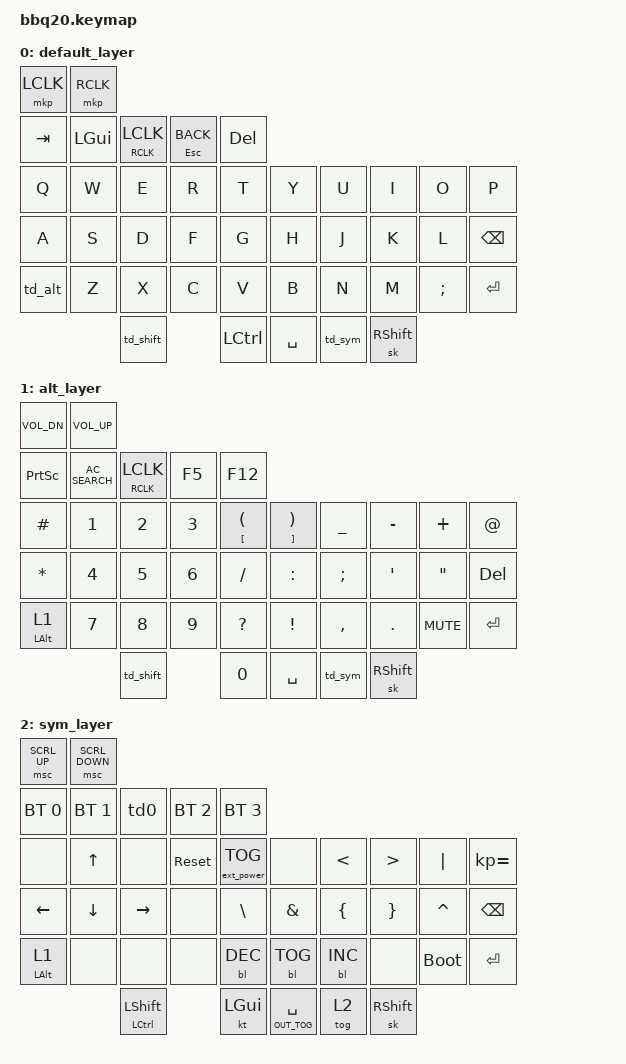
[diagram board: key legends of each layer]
/*
 * Copyright (c) 2023 ZitaoTech
 *
 * SPDX-License-Identifier: MIT
 */

#include <behaviors.dtsi>
#include <dt-bindings/zmk/backlight.h>
#include <dt-bindings/zmk/bt.h>
#include <dt-bindings/zmk/ext_power.h>
#include <dt-bindings/zmk/keys.h>
#include <dt-bindings/zmk/keys.h>
#include <dt-bindings/zmk/mouse.h>
#include <dt-bindings/zmk/outputs.h>

#define SYM 1
#define UPPER 2

/ {
    behaviors {
        td0: tap_dance_0 {
            compatible = "zmk,behavior-tap-dance";
            #binding-cells = <0>;
            tapping-term-ms = <400>;
            bindings = <&mkp LCLK>, <&bt BT_CLR>;
        };
    };

    behaviors {
        hm: homerow_mods {
            compatible = "zmk,behavior-hold-tap";
            #binding-cells = <2>;
            tapping-term-ms = <500>;
            bindings = <&out &kp>;
        };

        td_alt: td_alt {
            compatible = "zmk,behavior-tap-dance";
            label = "TD_ALT";
            #binding-cells = <0>;
            bindings = <&sl 1>, <&tog 1>;
        };

        td_sym: td_sym {
            compatible = "zmk,behavior-tap-dance";
            label = "TD_SYM";
            #binding-cells = <0>;
            bindings = <&sl 2>, <&tog 2>;
        };

        td_shift: td_shift {
            compatible = "zmk,behavior-tap-dance";
            label = "TD_SHIFT";
            #binding-cells = <0>;
            bindings = <&sk LSHFT>, <&kp CAPSLOCK>;
        };

        hold_alt: hold_alt {
            compatible = "zmk,behavior-hold-tap";
            label = "HOLD_ALT";
            bindings = <&kt>, <&tog>;

            #binding-cells = <2>;
            hold-trigger-key-positions = <27>;
            tapping-term-ms = <200>;
            flavor = "tap-preferred";
            hold-trigger-on-release;
        };

        mouse_click: mouse_click {
            compatible = "zmk,behavior-hold-tap";
            label = "MOUSE_CLICK";
            bindings = <&mkp>, <&mkp>;

            #binding-cells = <2>;
            flavor = "tap-preferred";
            hold-trigger-key-positions = <4>;
            tapping-term-ms = <200>;
        };

        sym_shift_cmd: sym_shift_cmd {
            compatible = "zmk,behavior-hold-tap";
            label = "SYM_SHIFT_CMD";
            bindings = <&kt>, <&sk>;

            #binding-cells = <2>;
            tapping-term-ms = <400>;
        };
    };

    combos {
        compatible = "zmk,combos";

        alt_key {
            bindings = <&kt LEFT_ALT>;
            key-positions = <27 41>;
            layers = <0>;
        };

        ctrl_combo {
            bindings = <&kt LCTRL>;
            key-positions = <37 41>;
        };

        cmd_key {
            bindings = <&sk LEFT_GUI>;
            key-positions = <38 41>;
        };
    };

    keymap {
        compatible = "zmk,keymap";

        default_layer {
            bindings = <
&mkp LCLK  &mkp RCLK
&kp TAB    &kp LGUI   &mouse_click RCLK LCLK  &mt ESC K_BACK  &kp DEL
&kp Q      &kp W      &kp E                   &kp R           &kp T      &kp Y        &kp U    &kp I            &kp O     &kp P
&kp A      &kp S      &kp D                   &kp F           &kp G      &kp H        &kp J    &kp K            &kp L     &kp BSPC
&td_alt    &kp Z      &kp X                   &kp C           &kp V      &kp B        &kp N    &kp M            &kp SEMI  &kp ENTER
                      &td_shift                               &kp LCTRL  &kp SPACE    &td_sym  &sk RIGHT_SHIFT
            >;
        };

        alt_layer {
            bindings = <
&kp C_VOL_DN          &kp C_VOL_UP
&kp PSCRN             &kp C_AC_SEARCH  &mouse_click RCLK LCLK  &kp F5  &kp F12
&kp HASH              &kp N1           &kp N2                  &kp N3  &mt LBKT LPAR  &mt RBKT RPAR    &kp UNDER  &kp MINUS        &kp PLUS    &kp AT
&kp STAR              &kp N4           &kp N5                  &kp N6  &kp SLASH      &kp COLON        &kp SEMI   &kp APOS         &kp DQT     &kp DEL
&hold_alt LEFT_ALT 1  &kp N7           &kp N8                  &kp N9  &kp QMARK      &kp EXCL         &kp COMMA  &kp DOT          &kp C_MUTE  &kp ENTER
                                       &td_shift                       &kp N0         &kp SPACE        &td_sym    &sk RIGHT_SHIFT
            >;
        };

        sym_layer {
            bindings = <
&msc SCRL_UP          &msc SCRL_DOWN
&bt BT_SEL 0          &bt BT_SEL 1    &td0                                    &bt BT_SEL 2  &bt BT_SEL 3
&none                 &kp UP          &none                                   &sys_reset    &ext_power EP_TOG  &none                &kp LT      &kp GT           &kp PIPE     &kp KP_EQUAL
&kp LEFT              &kp DOWN        &kp RIGHT                               &none         &kp BSLH           &kp AMPS             &kp LBRC    &kp RBRC         &kp CARET    &kp BSPC
&hold_alt LEFT_ALT 1  &none           &none                                   &none         &bl BL_DEC         &bl BL_TOG           &bl BL_INC  &none            &bootloader  &kp ENTER
                                      &sym_shift_cmd LEFT_CONTROL LEFT_SHIFT                &kt LEFT_GUI       &hm OUT_TOG SPACE    &tog 2      &sk RIGHT_SHIFT
            >;
        };
    };
};
